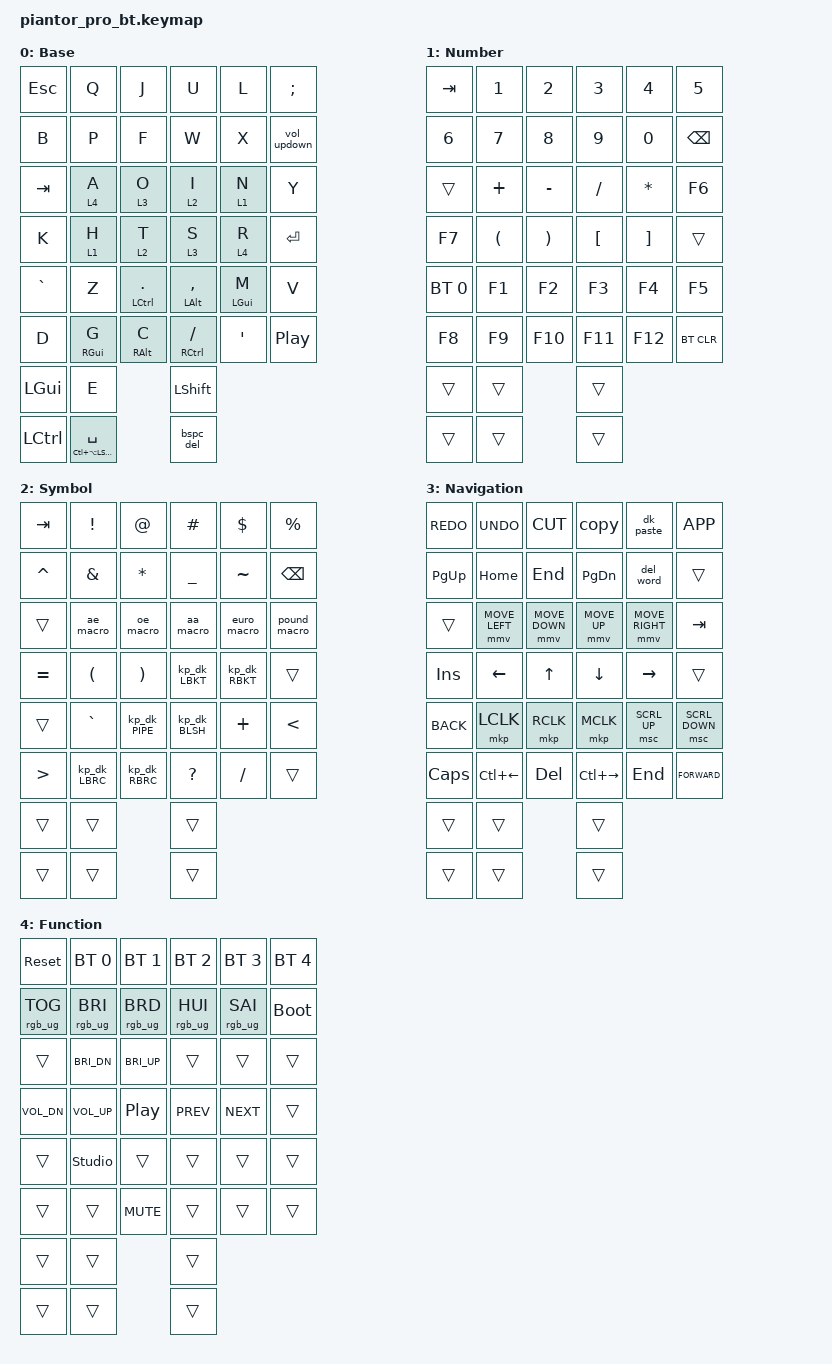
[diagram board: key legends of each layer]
#include <behaviors.dtsi>
#include <dt-bindings/zmk/bt.h>
#include <dt-bindings/zmk/keys.h>
#include <dt-bindings/zmk/rgb.h>
#include <dt-bindings/zmk/modifiers.h>
#include <dt-bindings/zmk/pointing.h>

/ {
    chosen {
        zmk,physical-layout = &default_layout;
    };

    macros {
        // Danish characters using Unicode sequences
        ae_macro: ae_macro {
            compatible = "zmk,behavior-macro";
            #binding-cells = <0>;
            bindings = <&kp RA(Z)>;  // AltGr+Z for æ
        };
        
        oe_macro: oe_macro {
            compatible = "zmk,behavior-macro"; 
            #binding-cells = <0>;
            bindings = <&kp RA(L)>;  // AltGr+L for ø
        };
        
        aa_macro: aa_macro {
            compatible = "zmk,behavior-macro";
            #binding-cells = <0>; 
            bindings = <&kp RA(W)>;  // AltGr+W for å
        };
        
        euro_macro: euro_macro {
            compatible = "zmk,behavior-macro";
            #binding-cells = <0>;
            bindings = <&kp RA(E)>;  // AltGr+E for €
        };
        
        pound_macro: pound_macro {
            compatible = "zmk,behavior-macro";
            #binding-cells = <0>;
            bindings = <&kp RA(N3)>; // AltGr+3 for £
        };

        // Danish keyboard specific brackets and symbols
        kp_dk_LBKT: kp_dk_LBKT { // this is a macro for writting "[" on danish keyboards.
            label = "kp_dk_LBKT";
            compatible = "zmk,behavior-macro";
            #binding-cells = <0>;
            bindings
                = <&macro_press &kp RALT>
                , <&macro_tap &kp N8>
                , <&macro_release &kp RALT>
                ;
        };
        
        kp_dk_RBKT: kp_dk_RBKT { // this is a macro for writting "]" on danish keyboards.
            label = "kp_dk_RBKT";
            compatible = "zmk,behavior-macro";
            #binding-cells = <0>;
            bindings
                = <&macro_press &kp RALT>
                , <&macro_tap &kp N9>
                , <&macro_release &kp RALT>
                ;
        };
        
        kp_dk_LBRC: kp_dk_LBRC { // this is a macro for writting "{" on danish keyboards.
            label = "kp_dk_LBRC";
            compatible = "zmk,behavior-macro";
            #binding-cells = <0>;
            bindings
                = <&macro_press &kp RALT>
                , <&macro_tap &kp N7>
                , <&macro_release &kp RALT>
                ;
        };
        
        kp_dk_RBRC: kp_dk_RBRC { // this is a macro for writting "}" on danish keyboards.
            label = "kp_dk_RBRC";
            compatible = "zmk,behavior-macro";
            #binding-cells = <0>;
            bindings
                = <&macro_press &kp RALT>
                , <&macro_tap &kp N0>
                , <&macro_release &kp RALT>
                ;
        };
        
        kp_dk_BLSH: kp_dk_BLSH { // this is a macro for writting "\" on danish keyboards.
            label = "kp_dk_BLSH";
            compatible = "zmk,behavior-macro";
            #binding-cells = <0>;
            bindings
                = <&macro_press &kp RALT>
                , <&macro_tap &kp NON_US_BACKSLASH>
                , <&macro_release &kp RALT>
                ;
        };
        
        kp_dk_PIPE: kp_dk_PIPE { // this is a macro for writting "|" on danish keyboards.
            label = "kp_dk_PIPE";
            compatible = "zmk,behavior-macro";
            #binding-cells = <0>;
            bindings
                = <&macro_press &kp RALT>
                , <&macro_tap &kp EQUAL>
                , <&macro_release &kp RALT>
                ;
        };
        
        kp_dk_UNDER: kp_dk_UNDER { // this is a macro for writting "_" on danish keyboards.
            label = "kp_dk_UNDER";
            compatible = "zmk,behavior-macro";
            #binding-cells = <0>;
            bindings
                = <&macro_press &kp LSHIFT>
                , <&macro_tap &kp FSLH>
                , <&macro_release &kp LSHIFT>
                ;
        };

        // System shortcuts
        copy: copy { // this is a macro for copying
            label = "copy";
            compatible = "zmk,behavior-macro";
            #binding-cells = <0>;
            bindings
                = <&macro_press &kp LCTRL>
                , <&macro_tap &kp C>
                , <&macro_release &kp LCTRL>
                ;
        };
        
        dk_paste: dk_paste { // this is a macro for pasting
            label = "dk_paste";
            compatible = "zmk,behavior-macro";
            #binding-cells = <0>;
            bindings
                = <&macro_press &kp LCTRL>
                , <&macro_tap &kp V>
                , <&macro_release &kp LCTRL>
                ;
        };
        
        del_word: del_word { // this is a macro for utilising the delete word functionality on windows
            label = "del_word";
            compatible = "zmk,behavior-macro";
            #binding-cells = <0>;
            bindings
                = <&macro_press &kp LCTRL>
                , <&macro_tap &kp BACKSPACE>
                , <&macro_release &kp LCTRL>
                ;
        };

        // macOS/Windows navigation shortcuts
        mod_left: mod_left { // this is a macro for window management left
            label = "mod_left";
            compatible = "zmk,behavior-macro";
            #binding-cells = <0>;
            bindings
                = <&macro_press &kp LGUI>
                , <&macro_tap &kp LEFT>
                , <&macro_release &kp LGUI>
                ;
        };
        
        mod_up: mod_up { // this is a macro for window management up
            label = "mod_up";
            compatible = "zmk,behavior-macro";
            #binding-cells = <0>;
            bindings
                = <&macro_press &kp LGUI>
                , <&macro_tap &kp UP>
                , <&macro_release &kp LGUI>
                ;
        };
        
        mod_right: mod_right { // this is a macro for window management right
            label = "mod_right";
            compatible = "zmk,behavior-macro";
            #binding-cells = <0>;
            bindings
                = <&macro_press &kp LGUI>
                , <&macro_tap &kp RIGHT>
                , <&macro_release &kp LGUI>
                ;
        };
        
        mod_down: mod_down { // this is a macro for window management down
            label = "mod_down";
            compatible = "zmk,behavior-macro";
            #binding-cells = <0>;
            bindings
                = <&macro_press &kp LGUI>
                , <&macro_tap &kp DOWN>
                , <&macro_release &kp LGUI>
                ;
        };
    };

    behaviors {
        // E as navigation layer when held
        nav_e: nav_e {
            compatible = "zmk,behavior-hold-tap";
            #binding-cells = <2>;
            tapping-term-ms = <200>;
            quick-tap-ms = <175>;
            flavor = "balanced";
            bindings = <&mo>, <&kp>;
            // All 42 physical key positions may trigger a hold
            hold-trigger-key-positions = <0 1 2 3 4 5 6 7 8 9 10 11 12 13 14 15 16 17 18 19 20 21 22 23 24 25 26 27 28 29 30 31 32 33 34 35 36 37 38 39 40 41>;
            hold-trigger-on-release;
        };

        // One-shot Shift in the thumb cluster
        os_shift: os_shift {
            compatible = "zmk,behavior-hold-tap";
            #binding-cells = <2>;
            tapping-term-ms = <200>;
            quick-tap-ms = <175>;
            flavor = "balanced";    
            bindings = <&kp>, <&kp>;
            hold-trigger-key-positions = <0 1 2 3 4 5 6 7 8 9 10 11 12 13 14 15 16 17 18 19 20 21 22 23 24 25 26 27 28 29 30 31 32 33 34 35 36 37 38 39 40 41>;
            hold-trigger-on-release;
        };

        // Home row layer-tap behaviors
        lt_fun: lt_fun {
            compatible = "zmk,behavior-hold-tap";
            #binding-cells = <2>;
            tapping-term-ms = <200>;
            quick-tap-ms = <175>;
            flavor = "tap-preferred";
            bindings = <&mo>, <&kp>;
            hold-trigger-key-positions = <0 1 2 3 4 5 6 7 8 9 10 11 12 13 14 15 16 17 18 19 20 21 22 23 24 25 26 27 28 29 30 31 32 33 34 35 36 37 38 39 40 41>;
        };

        lt_nav: lt_nav {
            compatible = "zmk,behavior-hold-tap";
            #binding-cells = <2>;
            tapping-term-ms = <200>;
            quick-tap-ms = <175>;
            flavor = "tap-preferred";
            bindings = <&mo>, <&kp>;
            hold-trigger-key-positions = <0 1 2 3 4 5 6 7 8 9 10 11 12 13 14 15 16 17 18 19 20 21 22 23 24 25 26 27 28 29 30 31 32 33 34 35 36 37 38 39 40 41>;
        };

        lt_sym: lt_sym {
            compatible = "zmk,behavior-hold-tap";
            #binding-cells = <2>;
            tapping-term-ms = <200>;
            quick-tap-ms = <175>;
            flavor = "tap-preferred";
            bindings = <&mo>, <&kp>;
            hold-trigger-key-positions = <0 1 2 3 4 5 6 7 8 9 10 11 12 13 14 15 16 17 18 19 20 21 22 23 24 25 26 27 28 29 30 31 32 33 34 35 36 37 38 39 40 41>;
        };

        lt_num: lt_num {
            compatible = "zmk,behavior-hold-tap";
            #binding-cells = <2>;
            tapping-term-ms = <200>;
            quick-tap-ms = <175>;
            flavor = "tap-preferred";
            bindings = <&mo>, <&kp>;
            hold-trigger-key-positions = <0 1 2 3 4 5 6 7 8 9 10 11 12 13 14 15 16 17 18 19 20 21 22 23 24 25 26 27 28 29 30 31 32 33 34 35 36 37 38 39 40 41>;
        };

        // MEH + Space behavior
        meh_spc: meh_spc {
            compatible = "zmk,behavior-hold-tap";
            #binding-cells = <2>;
            tapping-term-ms = <200>;
            quick-tap-ms = <175>;
            flavor = "tap-preferred";
            bindings = <&kp>, <&kp>;
            hold-trigger-key-positions = <0 1 2 3 4 5 6 7 8 9 10 11 12 13 14 15 16 17 18 19 20 21 22 23 24 25 26 27 28 29 30 31 32 33 34 35 36 37 38 39 40 41>;
        };

        // Volume up/down mod-morph: vol+ normally, vol- with shift
        vol_updown: vol_updown {
            compatible = "zmk,behavior-mod-morph";
            #binding-cells = <0>;
            bindings = <&kp C_VOLUME_UP>, <&kp C_VOLUME_DOWN>;
            mods = <(MOD_LSFT|MOD_RSFT)>;
        };

        // backspace, delete with shift
        bspc_del: backspace_delete {
            compatible = "zmk,behavior-mod-morph";
            #binding-cells = <0>;
            bindings = <&kp BACKSPACE>, <&kp DELETE>;
            mods = <(MOD_LSFT|MOD_RSFT)>;
            keep-mods = <(MOD_RSFT)>;
        };
    };

    keymap {
        compatible = "zmk,keymap";

        // =====================================================================
        default_layer {
            display-name = "Base";

            // Core 36 keys = columns 2-6 on each half (marked with *)
            // Outer columns 1 and 12 = nice-to-have only (marked with !)
            // Aptmak Blue layout optimized for multilingual typing
            // ------------------------------------------------------------------------------------------------------------
            //                       Left Hand (6)                                 Right Hand (6)
            // Top:   ! ESC ! * Q * * J * * U * *  L * *  ; *     * B * * P * * F * * W * * X * !V+/V-!
            //        ---------------------------------------     -----------------------------------------------
            // Middle:! TAB ! *FUN_A*NAV_O*SYM_I*NUM_N*  Y *     * K *NUM_H*SYM_T*NAV_S*FUN_R* ! RET !
            //        ---------------------------------------     -----------------------------------------------
            // Bottom:! GRV ! * Z * *CTL_.*ALT_,*GUI_M*  V *     * D *GUI_G*ALT_C*CTL_/* * ' * ! Play!
            //        ---------------------------------------     -----------------------------------------------
            // Thumb:                    * GUI * *  E  * * SHF *   *CTRL* *MEH_SPC* *BSPC/DEL*
            //                           ------------------------------------
            // Note: E moved to left thumb as recommended by Aptmak Blue design
            // ------------------------------------------------------------------------------------------------------------

            bindings = <
                /* --------------------------- TOP ROW --------------------------- */
                &kp ESCAPE       &kp Q           &kp J           &kp U            &kp L             &kp SEMICOLON
                &kp B            &kp P           &kp F           &kp W            &kp X             &vol_updown

                /* -------------------------- MIDDLE ROW ------------------------ */
                &kp TAB          &lt_fun 4 A     &lt_nav 3 O     &lt_sym 2 I      &lt_num 1 N       &kp Y
                &kp K            &lt_num 1 H     &lt_sym 2 T     &lt_nav 3 S      &lt_fun 4 R       &kp RET

                /* -------------------------- BOTTOM ROW ------------------------ */
                &kp GRAVE        &kp Z           &mt LCTRL PERIOD &mt LALT COMMA  &mt LGUI M        &kp V
                &kp D            &mt RGUI G      &mt RALT C      &mt RCTRL SLASH &kp SINGLE_QUOTE  &kp C_PLAY_PAUSE

                /* -------------------------- THUMB ROW ------------------------- */
                &kp LGUI         &kp E                           &kp LSHFT
                &kp LCTRL        &meh_spc LC(LA(LSHFT)) SPACE    &bspc_del          
            >;
        };

        // =====================================================================
        number_layer {
            display-name = "Number";

            // Core 36: Numbers 1-0, F-keys optimized for ergonomics and flow
            // ------------------------------------------------------------------------------------------------------------
            //                       Left Hand                                       Right Hand
            // Top:    ! TAB ! *  1 * *  2 * *  3 * *  4 * *  5 *     *  6 * *  7 * *  8 * *  9 * *  0 * !BSPC!
            //         -----------------------------------------------     -----------------------------------------------
            // Middle: !     ! *  + * *  - * *  / * *  * * *  F6*     * F7 * *  ( * *  ) * *  [ * *  ] * !     !
            //         -----------------------------------------------     -----------------------------------------------
            // Bottom: ! BT0 ! *  F1* *  F2* *  F3* *  F4* *  F5*     *  F8* *  F9* * F10* * F11* * F12* !BTCLR!
            //         -----------------------------------------------     -----------------------------------------------
            // Thumb:                    * GUI * *  E  * * SHF *   *CTRL* *MEH_SPC* *BSPC*
            // ------------------------------------------------------------------------------------------------------------

            bindings = <
                /* TOP */
                &kp TAB          &kp N1  &kp N2  &kp N3  &kp N4  &kp N5   &kp N6  &kp N7  &kp N8  &kp N9  &kp N0  &kp BSPC
                /* MID */
                &trans           &kp PLUS &kp MINUS &kp SLASH &kp ASTRK &kp F6   &kp F7  &kp LPAR &kp RPAR &kp LBKT &kp RBKT &trans
                /* BOT */
                &bt BT_SEL 0     &kp F1  &kp F2  &kp F3  &kp F4  &kp F5   &kp F8  &kp F9  &kp F10 &kp F11 &kp F12 &bt BT_CLR
                /* THM */
                &trans           &trans                          &trans
                &trans           &trans                          &trans
            >;
        };

        // =====================================================================
        symbol_layer {
            display-name = "Symbol";

            // Core 36: Braces on home row, brackets in consistent positions with number layer
            // ------------------------------------------------------------------------------------------------------------
            //                       Left Hand                                       Right Hand
            // Top:    ! TAB ! *  ! * *  @ * *  # * *  $ * *  % *     *  ^ * *  & * *  * * *  _ * *  ~ * !BSPC!
            //         -----------------------------------------------     -----------------------------------------------
            // Middle: !     ! *  Æ * *  Ø * *  Å * *  € * *  £ *     * = * *  ( * *  ) * *  [ * *  ] * !     !
            //         -----------------------------------------------     -----------------------------------------------
            // Bottom: !     ! *  ` * *  | * *  \ * *  + * *  < *     *  > * *  { * *  } * *  ? * *  / * !     !
            //         -----------------------------------------------     -----------------------------------------------
            // Thumb:                    * GUI * *  E  * * SHF *   *CTRL* *MEH_SPC* *BSPC*
            // ------------------------------------------------------------------------------------------------------------

            bindings = <
                /* TOP */
                &kp TAB          &kp EXCL &kp AT  &kp HASH &kp DLLR &kp PRCNT &kp CARET &kp AMPS &kp ASTRK &kp UNDER &kp TILDE &kp BSPC
                /* MID */
                &trans           &ae_macro &oe_macro &aa_macro &euro_macro &pound_macro &kp EQUAL &kp LPAR &kp RPAR &kp_dk_LBKT &kp_dk_RBKT &trans
                /* BOT */
                &trans           &kp GRAVE &kp_dk_PIPE &kp_dk_BLSH &kp PLUS &kp LT &kp GT &kp_dk_LBRC &kp_dk_RBRC &kp QMARK &kp SLASH &trans
                /* THM */
                &trans           &trans                          &trans
                &trans           &trans                          &trans
            >;
        };

        // =====================================================================
        navigation_layer {
            display-name = "Navigation";

            // Navigation + Mouse layer: Arrow keys, mouse movement, clicking, scrolling
            // Clean design without redundant modifiers (available on thumbs/bottom row)
            // ------------------------------------------------------------------------------------------------------------
            //                       Left Hand                                       Right Hand
            // Top:    !REDO! * UNDO* * CUT * *COPY * *PAST* * APP*     *PGUP* *HOME* * END * * PGDN * *WDEL* !     !
            //         -----------------------------------------------     -----------------------------------------------
            // Middle: !     ! *MS←* *MS↓* *MS↑* *MS→* * TAB*     * INS* *LEFT* * UP * *DOWN* *RGHT* !     !
            //         -----------------------------------------------     -----------------------------------------------
            // Bottom: ! BRW-! *LCK* *RCK* *MCK* *SCL↑**SCL↓*     *CAPS* *WD←* * DEL* * WD→* * END* ! BRW+!
            //         -----------------------------------------------     -----------------------------------------------  
            // Thumb:                    * GUI * *  E  * * SHF *   *CTRL* *MEH_SPC* *BSPC*
            // ------------------------------------------------------------------------------------------------------------

            bindings = <
                /* TOP */
                &kp K_REDO       &kp K_UNDO &kp K_CUT &copy &dk_paste &kp K_APP   &kp PG_UP &kp HOME &kp END &kp PG_DN &del_word &trans
                /* MID */
                &trans           &mmv MOVE_LEFT &mmv MOVE_DOWN &mmv MOVE_UP &mmv MOVE_RIGHT &kp TAB   &kp INS &kp LEFT &kp UP &kp DOWN &kp RIGHT &trans
                /* BOT */
                &kp K_BACK       &mkp LCLK &mkp RCLK &mkp MCLK &msc SCRL_UP &msc SCRL_DOWN   &kp CAPS &kp LC(LEFT) &kp DEL &kp LC(RIGHT) &kp END &kp K_FORWARD
                /* THM */
                &trans           &trans                          &trans
                &trans           &trans                          &trans
            >;
        };

        // =====================================================================
        function_layer {
            display-name = "Function";

            // System controls: Bluetooth, RGB, Media, Brightness
            // RGBT = Toggle
            // RGBI = Brightness +
            // RGBD = Brightness -
            // RGBH = Hue Increase: cycles through different colors
            // RGBH = Saturation increase: makes colors more intense
            // ------------------------------------------------------------------------------------------------------------
            //                       Left Hand                                       Right Hand
            // Top:    !RESET! * BT0* * BT1* * BT2* * BT3* * BT4*     *RGBT* *RGBI* *RGBD* *RGBH* *RGBS* !BOOT !
            //         -----------------------------------------------     -----------------------------------------------
            // Middle: !     ! *BR- * *BR+ * *    * *    * *    *     * V- * * V+ * *PLAY* *PREV* *NEXT* !     !
            //         -----------------------------------------------     -----------------------------------------------
            // Bottom: !     ! *UNLK* *    * *    * *    * *    *     *    * *    * *MUTE* *    * *    * !     !
            //         -----------------------------------------------     -----------------------------------------------
            // Thumb:                           * GUI * *  E  * * SHF *   *CTRL* *MEH_SPC* *BSPC*
            // ------------------------------------------------------------------------------------------------------------

            bindings = <
                /* TOP */
                &sys_reset       &bt BT_SEL 0 &bt BT_SEL 1 &bt BT_SEL 2 &bt BT_SEL 3 &bt BT_SEL 4
                                   &rgb_ug RGB_TOG &rgb_ug RGB_BRI &rgb_ug RGB_BRD &rgb_ug RGB_HUI &rgb_ug RGB_SAI &bootloader
                /* MID */
                &trans           &kp C_BRI_DN &kp C_BRI_UP &trans &trans &trans   &kp C_VOL_DN &kp C_VOL_UP &kp C_PP &kp C_PREV &kp C_NEXT &trans
                /* BOT */
                &trans           &studio_unlock &trans &trans &trans &trans   &trans &trans &kp C_MUTE &trans &trans &trans
                /* THM */
                &trans           &trans                          &trans
                &trans           &trans                          &trans
            >;
        };
    };
}; 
